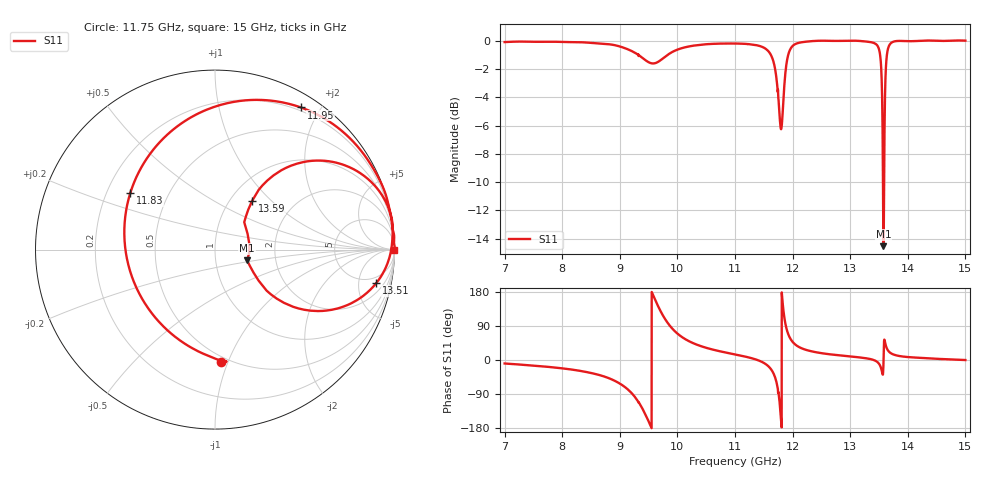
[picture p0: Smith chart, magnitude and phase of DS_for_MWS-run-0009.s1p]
! TOUCHSTONE file generated by CST DESIGN STUDIO
! Date and time: Mon Feb 10 16:43:01 2025
! Project name: C:\Work\MatlabApps\UnitCellType2OptimizationMatlab\CST\unitcell.cst
! Tree item: Tasks\Sweep1\SPara1\S-Parameters
! Header version: 2024
! Port assignment regex: !\s*Touchstone port\s*([0-9]+)\s*=\s*(CST MWS port|CST DES external port|CST DES block port)\s*(.+)\s* \(\"(.*)\"\)(\s*mode\s*([0-9]+))?.*
! Touchstone port assignment:
! Touchstone port 1 = CST DES external port 1 ("")
# GHz S MA R 50
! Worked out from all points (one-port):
!   4001 points, 7 GHz to 15 GHz, reference 50 ohm
!   lowest |S11| = -14.5 dB at 13.58 GHz (marker M1), VSWR 1.46, Z = 71.1 - j8.68 ohm
!   |S11| at or under -10 dB: 13.56943 GHz to 13.58907 GHz (19.65 MHz wide, 0.145 % of centre)
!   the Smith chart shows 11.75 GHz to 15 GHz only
!   S11 on the Smith chart (normalised r, x): 11.75 GHz: 0.46, -0.94; 11.83 GHz: 0.30, +0.28; 11.95 GHz: 0.16, +1.76; 13.51 GHz: 3.50, -8.28; 13.59 GHz: 1.26, +0.77; 15 GHz: open
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7  0.9883 -9.2
8  0.9889 -22.1
8.634  0.9776 -39.2
9  0.9536 -62.2
9.32  0.891 -109.7
9.546  0.8318 -177.7
9.756  0.8676 115.6
10  0.9293 69.8
10.368  0.9653 38.7
11  0.9766 14.7
11.58  0.9171 -16.6
11.678  0.8275 -38.7
11.75  0.6271 -87.0
11.796  0.4879 -149.9
11.83  0.5672 146.4
11.882  0.794 90.6
11.952  0.9254 58.8
12  0.9572 47.8
12.266  0.993 25.3
13  0.9998 9.6
13.508  0.9179 -11.7
13.542  0.7706 -24.8
13.576  0.1878 -18.3
13.59  0.341 52.7
13.63  0.8616 33.1
13.694  0.9735 19.2
14  0.9956 7.8
15  0.9997 -0.1
